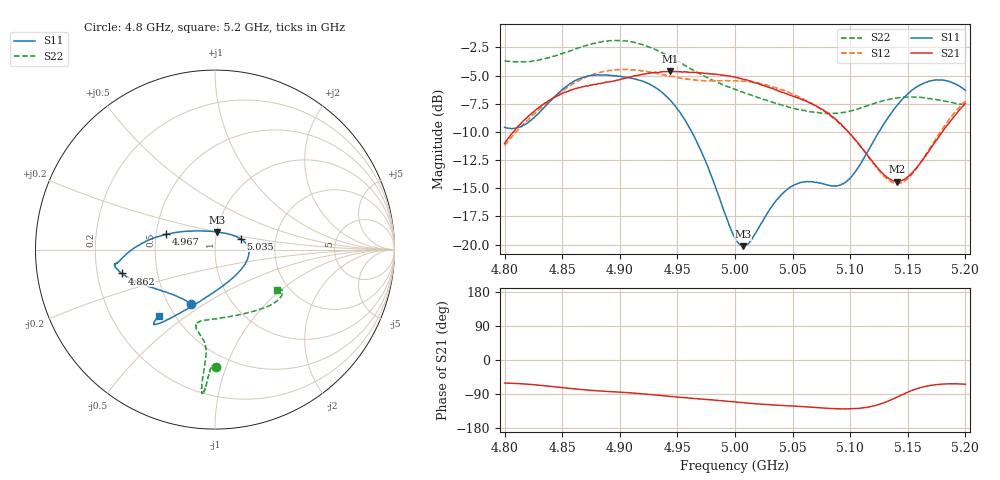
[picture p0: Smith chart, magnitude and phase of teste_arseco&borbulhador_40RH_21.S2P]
! Network Analyzer HP8722D
! Hewlett-Packard
! Data name: Linha & Wilkinson
! Saver's name: Rodrigo Anjos
! Comments: Teste da utilização de aquisição
! continua pelo VNA HP8722D
! Time and date: 15/4/2025 16:31
!  Frequency  S11  S21  S12  S22
# HZ  S  MA R 50
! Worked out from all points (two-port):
!   401 points, 4.8 GHz to 5.2 GHz, reference 50 ohm
!   highest |S21| = -4.63 dB at 4.944 GHz (marker M1); lowest = -14.4 dB at 5.141 GHz (marker M2)
!   |S21| within 3 dB of the highest: 4.832 GHz to 5.069 GHz (236.5 MHz wide, 4.78 % of centre); 5.198617 GHz to end of sweep
!   lowest |S11| = -20.1 dB at 5.007 GHz (marker M3), VSWR 1.22, Z = 50.1 + j9.91 ohm
!   |S11| at or under -10 dB: 4.962 GHz to 5.125 GHz (162.5 MHz wide, 3.22 % of centre)
!   |S22| runs from -8.4 to -1.9 dB; largest |S21 - S12| = 0.88
!   S11 on the Smith chart (normalised r, x): 4.8 GHz: 0.65, -0.44; 4.862 GHz: 0.31, -0.11; 4.967 GHz: 0.57, +0.10; 5.035 GHz: 1.32, +0.17; 5.2 GHz: 0.41, -0.40
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4.8e9  0.3311 -113.7  0.281 -60.8  0.275 -175.0  0.6535 -89.5
4.819e9  0.3445 -133.4  0.364 -63.6  0.3523 -173.3  0.6482 -91.1
4.862e9  0.5359 -165.6  0.4935 -76.7  0.527 -176.2  0.7401 -93.5
4.867e9  0.5493 -167.5  0.5009 -78.2  0.5415 -177.2  0.7534 -93.7
4.9e9  0.5582 -172.0  0.5397 -84.8  0.5965 175.8  0.8027 -95.0
4.934e9  0.4853 -178.0  0.5795 -93.3  0.5728 172.0  0.7198 -95.5
4.944e9  0.4364 177.6  0.5868 -96.1  0.5576 172.0  0.6782 -95.3
4.967e9  0.2848 162.6  0.5792 -102.0  0.5344 174.1  0.5812 -94.9
5e9  0.1071 107.4  0.5537 -110.8  0.5339 176.4  0.4874 -99.2
5.007e9  0.09846 83.7  0.5414 -112.5  0.5294 176.4  0.4738 -100.8
5.014e9  0.1047 61.6  0.5309 -114.4  0.5276 176.1  0.4612 -102.5
5.035e9  0.1553 23.1  0.4856 -119.0  0.4972 175.3  0.4247 -104.0
5.05e9  0.182 7.2  0.456 -121.5  0.4648 174.5  0.4043 -100.4
5.067e9  0.1901 -11.1  0.4206 -124.4  0.4217 174.1  0.3886 -92.1
5.087e9  0.1815 -43.5  0.3604 -128.6  0.358 173.8  0.3822 -77.0
5.098e9  0.1936 -66.8  0.3183 -129.0  0.3164 174.6  0.3893 -67.6
5.134e9  0.3729 -115.9  0.1957 -107.0  0.1922 -159.8  0.4414 -43.4
5.141e9  0.4161 -119.9  0.1905 -97.2  0.1873 -148.9  0.4472 -40.2
5.152e9  0.4758 -124.4  0.2043 -82.2  0.2009 -131.4  0.4514 -36.2
5.17e9  0.5326 -128.5  0.2671 -66.9  0.2722 -113.0  0.4442 -32.1
5.184e9  0.5322 -129.8  0.3377 -63.0  0.3484 -107.1  0.4315 -31.1
5.2e9  0.483 -130.3  0.4223 -64.1  0.4338 -106.0  0.4147 -33.3
